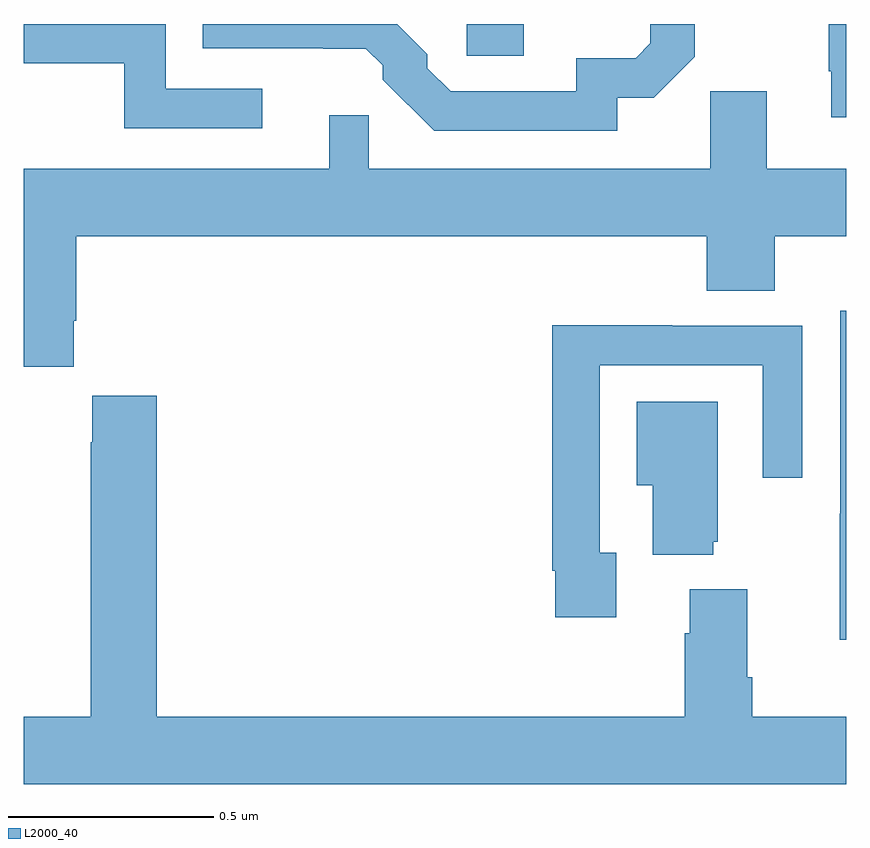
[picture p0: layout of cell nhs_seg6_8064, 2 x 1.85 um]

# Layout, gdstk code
import gdstk
lib = gdstk.Library(unit=1e-6, precision=1e-09)
def R(c, l, rs):  # rectangles x0, y0, x1, y1
    for r in rs: c.add(gdstk.rectangle(r[:2], r[2:], *l))
def P(c, l, *ps):  # polygons
    for p in ps: c.add(gdstk.Polygon(p, *l))
L2000_40 = (2000, 40)

nhs_seg6_8064 = lib.new_cell('nhs_seg6_8064')
R(nhs_seg6_8064, L2000_40, [(217.077,966.423,217.216,966.5)])
P(nhs_seg6_8064, L2000_40, [(216.58,966.342),(216.345,966.342),(216.345,966.5),(216,966.5),(216,966.404),(216.244,966.404),(216.244,966.246),(216.58,966.246)],
  [(218,966.5),(217.957,966.5),(217.957,966.385),(217.964,966.385),(217.964,966.273),(218,966.273)],
  [(217.443,966.321),(217.532,966.321),(217.632,966.42),(217.632,966.5),(217.524,966.5),(217.524,966.453),(217.488,966.417),(217.344,966.417),(217.344,966.336),(217.038,966.336),(216.981,966.393),(216.981,966.427),(216.908,966.5),(216.435,966.5),(216.435,966.441),(216.728,966.441),(216.728,966.44),(216.832,966.44),(216.873,966.4),(216.873,966.365),(216.998,966.24),(217.443,966.24)],
  [(216.121,965.779),(216.128,965.779),(216.128,965.984),(217.661,965.984),(217.661,965.851),(217.826,965.851),(217.826,965.984),(218,965.984),(218,966.148),(217.807,966.148),(217.807,966.336),(217.669,966.336),(217.669,966.148),(216.839,966.148),(216.839,966.278),(216.743,966.278),(216.743,966.148),(216,966.148),(216,965.667),(216.121,965.667)],
  [(218,965.803),(217.986,965.803),(217.986,965.309),(217.984,965.309),(217.984,965.003),(218,965.003)],
  [(217.441,965.214),(217.401,965.214),(217.401,965.67),(217.797,965.67),(217.797,965.397),(217.893,965.397),(217.893,965.766),(217.577,965.766),(217.577,965.768),(217.285,965.768),(217.285,965.17),(217.293,965.17),(217.293,965.058),(217.441,965.058)],
  [(218,964.816),(217.772,964.816),(217.772,964.912),(217.759,964.912),(217.759,965.125),(217.619,965.125),(217.619,965.018),(217.607,965.018),(217.607,964.816),(216.323,964.816),(216.323,965.596),(216.167,965.596),(216.167,965.483),(216.163,965.483),(216.163,964.816),(216,964.816),(216,964.652),(218,964.652)],
  [(217.676,965.241),(217.687,965.241),(217.687,965.581),(217.49,965.581),(217.49,965.378),(217.529,965.378),(217.529,965.21),(217.676,965.21)])

lib.write_gds('nhs_seg6_8064.gds')
